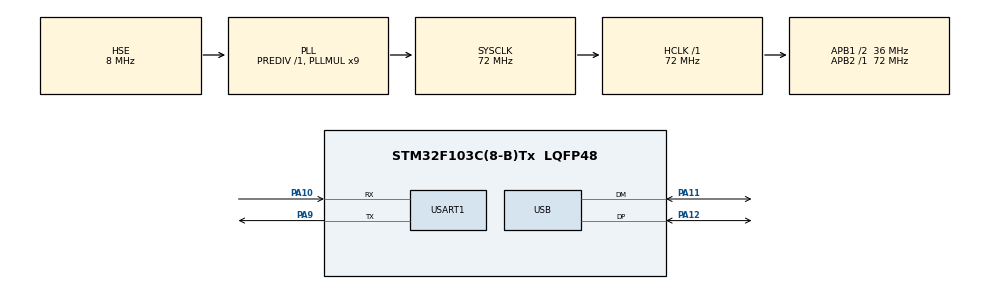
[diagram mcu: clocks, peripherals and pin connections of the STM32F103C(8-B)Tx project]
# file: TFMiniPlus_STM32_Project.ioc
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Mcu.Family=STM32F1
Mcu.Name=STM32F103C(8-B)Tx
Mcu.Package=LQFP48
NVIC.PriorityGroup=NVIC_PRIORITYGROUP_4
NVIC.USB_LP_CAN1_RX0_IRQn=true\:0\:0\:false\:false\:true\:false\:true\:true
PA10.Mode=Asynchronous
PA10.Signal=USART1_RX
PA11.Mode=Device
PA11.Signal=USB_DM
PA12.Mode=Device
PA12.Signal=USB_DP
PA13.Mode=Serial_Wire
PA13.Signal=SYS_JTMS-SWDIO
PA14.Mode=Serial_Wire
PA14.Signal=SYS_JTCK-SWCLK
PA9.Mode=Asynchronous
PA9.Signal=USART1_TX
PD0-OSC_IN.Mode=HSE-External-Oscillator
PD0-OSC_IN.Signal=RCC_OSC_IN
PD1-OSC_OUT.Mode=HSE-External-Oscillator
PD1-OSC_OUT.Signal=RCC_OSC_OUT
ProjectManager.HeapSize=0x200
ProjectManager.StackSize=0x400
ProjectManager.TargetToolchain=STM32CubeIDE
RCC.AHBFreq_Value=72000000
RCC.APB1CLKDivider=RCC_HCLK_DIV2
RCC.APB1Freq_Value=36000000
RCC.APB1TimFreq_Value=72000000
RCC.APB2Freq_Value=72000000
RCC.APB2TimFreq_Value=72000000
RCC.HCLKFreq_Value=72000000
RCC.PLLMUL=RCC_PLL_MUL9
RCC.SYSCLKFreq_VALUE=72000000
RCC.SYSCLKSource=RCC_SYSCLKSOURCE_PLLCLK
RCC.USBFreq_Value=48000000
RCC.USBPrescaler=RCC_USBCLKSOURCE_PLL_DIV1_5
USART1.VirtualMode=VM_ASYNC
USB_DEVICE.CLASS_NAME_FS=CDC
USB_DEVICE.VirtualMode=Cdc
USB_DEVICE.VirtualModeFS=Cdc_FS
VP_USB_DEVICE_VS_USB_DEVICE_CDC_FS.Mode=CDC_FS
board=custom

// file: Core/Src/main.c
/* USER CODE BEGIN Header */
/**
  ******************************************************************************
  * @file           : main.c
  * @brief          : Main program body
  ******************************************************************************
  * @attention
  *
  * Copyright (c) 2024 STMicroelectronics.
  * All rights reserved.
  *
  * This software is licensed under terms that can be found in the LICENSE file
  * in the root directory of this software component.
  * If no LICENSE file comes with this software, it is provided AS-IS.
  *
  ******************************************************************************
  */
/* USER CODE END Header */
#include "main.h"
#include "usart.h"
#include "usb_device.h"
#include "gpio.h"

/* USER CODE BEGIN Includes */
#include "usbd_cdc_if.h"
#include <string.h>
/* USER CODE END Includes */

void SystemClock_Config(void);

/* USER CODE BEGIN 0 */
int read_distance(UART_HandleTypeDef *huart, uint16_t *distance) {
    uint8_t rx_buffer[9];
    HAL_StatusTypeDef status = HAL_UART_Receive(huart, rx_buffer, 9, 1000);
    if (status == HAL_OK) {
        for (int i = 0; i < 7; i++) {
            if (rx_buffer[i] == 0x59 && rx_buffer[i+1] == 0x59) {
                *distance = (rx_buffer[i+3] << 8) | rx_buffer[i+2];
                return 0;
            }
        }
    } else {
        char error_msg[64];
        sprintf(error_msg, "HAL_UART_Receive failed: %d\r\n", status);
        CDC_Transmit_FS((uint8_t*)error_msg, strlen(error_msg));
    }
    return -1;
}

/* USER CODE END 0 */

int main(void)
{

  /* MCU Configuration--------------------------------------------------------*/

  /* Reset of all peripherals, Initializes the Flash interface and the Systick. */
  HAL_Init();

  /* Configure the system clock */
  SystemClock_Config();

  /* Initialize all configured peripherals */
  MX_GPIO_Init();
  MX_USART1_UART_Init();
  MX_USB_DEVICE_Init();
  /* USER CODE BEGIN 2 */
  char msg[64];
  uint16_t distance;

  /* USER CODE END 2 */

  /* Infinite loop */
  /* USER CODE BEGIN WHILE */
  while (1)
  {
	  if (read_distance(&huart1, &distance) == 0)
	  {
	      sprintf(msg, "Distance: %d cm\r\n", distance);
	      CDC_Transmit_FS((uint8_t*)msg, strlen(msg));
	  }
	  else
	  {
		  sprintf(msg, "Failed to read distance\r\n");
		  CDC_Transmit_FS((uint8_t*)msg, strlen(msg));
	  }

	  HAL_Delay(500);
  }
    /* USER CODE END WHILE */

}

void SystemClock_Config(void)
{
  RCC_OscInitTypeDef RCC_OscInitStruct = {0};
  RCC_ClkInitTypeDef RCC_ClkInitStruct = {0};
  RCC_PeriphCLKInitTypeDef PeriphClkInit = {0};

  /** Initializes the RCC Oscillators according to the specified parameters
  * in the RCC_OscInitTypeDef structure.
  */
  RCC_OscInitStruct.OscillatorType = RCC_OSCILLATORTYPE_HSE;
  RCC_OscInitStruct.HSEState = RCC_HSE_ON;
  RCC_OscInitStruct.HSEPredivValue = RCC_HSE_PREDIV_DIV1;
  RCC_OscInitStruct.HSIState = RCC_HSI_ON;
  RCC_OscInitStruct.PLL.PLLState = RCC_PLL_ON;
  RCC_OscInitStruct.PLL.PLLSource = RCC_PLLSOURCE_HSE;
  RCC_OscInitStruct.PLL.PLLMUL = RCC_PLL_MUL9;
  if (HAL_RCC_OscConfig(&RCC_OscInitStruct) != HAL_OK)
  {
    Error_Handler();
  }

  /** Initializes the CPU, AHB and APB buses clocks
  */
  RCC_ClkInitStruct.ClockType = RCC_CLOCKTYPE_HCLK|RCC_CLOCKTYPE_SYSCLK
                              |RCC_CLOCKTYPE_PCLK1|RCC_CLOCKTYPE_PCLK2;
  RCC_ClkInitStruct.SYSCLKSource = RCC_SYSCLKSOURCE_PLLCLK;
  RCC_ClkInitStruct.AHBCLKDivider = RCC_SYSCLK_DIV1;
  RCC_ClkInitStruct.APB1CLKDivider = RCC_HCLK_DIV2;
  RCC_ClkInitStruct.APB2CLKDivider = RCC_HCLK_DIV1;

  if (HAL_RCC_ClockConfig(&RCC_ClkInitStruct, FLASH_LATENCY_2) != HAL_OK)
  {
    Error_Handler();
  }
  PeriphClkInit.PeriphClockSelection = RCC_PERIPHCLK_USB;
  PeriphClkInit.UsbClockSelection = RCC_USBCLKSOURCE_PLL_DIV1_5;
  if (HAL_RCCEx_PeriphCLKConfig(&PeriphClkInit) != HAL_OK)
  {
    Error_Handler();
  }
}

void Error_Handler(void)
{
  __disable_irq();
  while (1)
  {
  }
}
